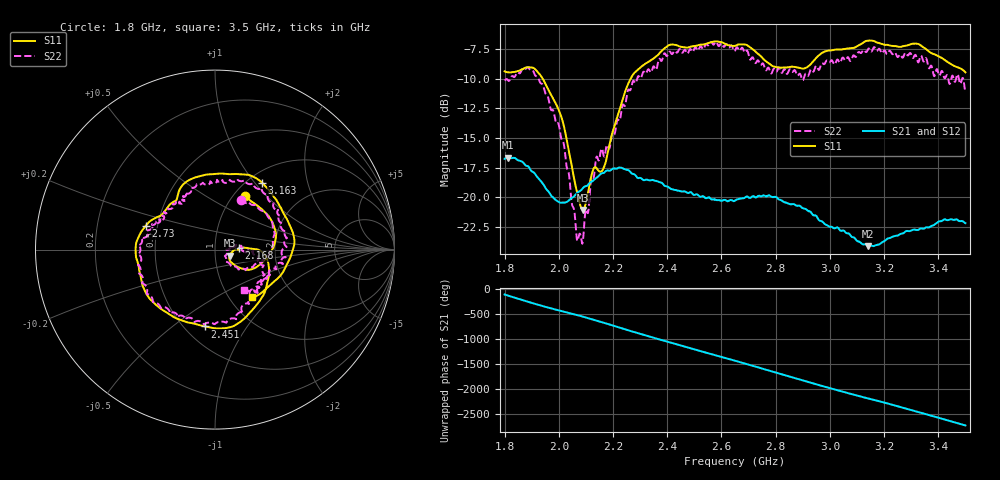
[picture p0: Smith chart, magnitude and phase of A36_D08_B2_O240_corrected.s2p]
! Created with skrf 1.9.0 (http://scikit-rf.org).
# Hz S RI R 50.0
!freq ReS11 ImS11 ReS21 ImS21 ReS12 ImS12 ReS22 ImS22
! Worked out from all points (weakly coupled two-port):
!   1601 points, 1.8 GHz to 3.5 GHz, reference 50 ohm
!   highest |S21| = -16.66 dB at 1.812 GHz (marker M1); lowest = -24.1 dB at 3.142 GHz (marker M2)
!   lowest |S11| = -21.1 dB at 2.089 GHz (marker M3), VSWR 1.19, Z = 58.8 - j3.93 ohm
!   |S11| at or under -10 dB: 1.941 GHz to 2.265 GHz (323.6 MHz wide, 15.4 % of centre)
!   |S22| runs from -23.9 to -6.9 dB; largest |S21 - S12| = 0.0027
!   S11 on the Smith chart (normalised r, x): 1.8 GHz: 1.12, +0.76; 2.168 GHz: 1.31, +0.02; 2.451 GHz: 0.63, -0.66; 2.73 GHz: 0.43, +0.14; 3.163 GHz: 1.16, +1.09; 3.5 GHz: 1.27, -0.76
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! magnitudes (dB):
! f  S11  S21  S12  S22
! 1.8 GHz  -9.4  -16.8  -16.8  -10.1
! 1.812 GHz  -9.4  -16.7  -16.7  -10.1
! 1.887 GHz  -9.0  -17.4  -17.5  -9.0
! 1.942 GHz  -10.1  -18.9  -18.9  -10.6
! 2.011 GHz  -13.4  -20.5  -20.4  -15.2
! 2.066 GHz  -19.4  -19.7  -19.7  -23.4
! 2.084 GHz  -20.9  -19.4  -19.3  -23.7
! 2.089 GHz  -21.1  -19.2  -19.3  -23.7
! 2.137 GHz  -17.5  -18.4  -18.4  -16.8
! 2.168 GHz  -17.4  -17.9  -17.9  -16.6
! 2.261 GHz  -10.2  -17.8  -17.8  -11.0
! 2.367 GHz  -7.9  -18.7  -18.6  -8.5
! 2.451 GHz  -7.3  -19.5  -19.5  -7.7
! 2.65 GHz  -7.2  -20.3  -20.3  -7.6
! 2.73 GHz  -7.8  -20.0  -20.0  -8.6
! 2.802 GHz  -9.0  -20.0  -20.0  -9.4
! 2.934 GHz  -8.7  -21.4  -21.4  -9.2
! 3.142 GHz  -6.8  -24.1  -24.0  -7.5
! 3.163 GHz  -6.8  -24.1  -24.1  -7.3
! 3.217 GHz  -7.2  -23.5  -23.4  -7.7
! 3.326 GHz  -7.1  -22.8  -22.7  -8.6
! 3.5 GHz  -9.5  -22.2  -22.2  -11.2
